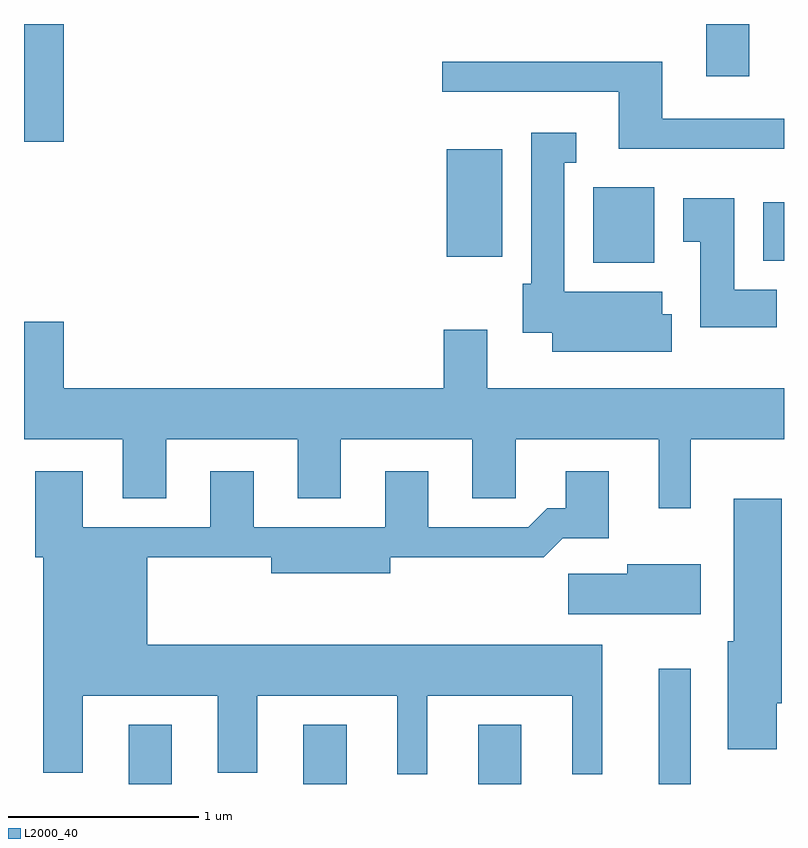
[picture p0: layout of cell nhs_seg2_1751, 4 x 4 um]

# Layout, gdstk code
import gdstk
lib = gdstk.Library(unit=1e-6, precision=1e-09)
def R(c, l, rs):  # rectangles x0, y0, x1, y1
    for r in rs: c.add(gdstk.rectangle(r[:2], r[2:], *l))
def A(c, l, x, y, w, h, nx, ny, dx, dy):  # array of equal rectangles
    R(c, l, [(x+i*dx, y+j*dy, x+i*dx+w, y+j*dy+h) for i in range(nx) for j in range(ny)])
def P(c, l, *ps):  # polygons
    for p in ps: c.add(gdstk.Polygon(p, *l))
L2000_40 = (2000, 40)

nhs_seg2_1751 = lib.new_cell('nhs_seg2_1751')
A(nhs_seg2_1751, L2000_40, 236.161, 1079.802, 0.228, 0.312, 3, 1, 0.92, 0)
R(nhs_seg2_1751, L2000_40, [(238.951,1079.802,239.119,1080.408), (238.606,1082.546,238.929,1082.944), (239.501,1082.556,239.611,1082.864), (237.836,1082.576,238.129,1083.144), (235.611,1083.181,235.819,1083.802), (239.201,1083.526,239.429,1083.802)])
P(nhs_seg2_1751, L2000_40, [(239.611,1083.304),(238.969,1083.304),(238.969,1083.604),(237.813,1083.604),(237.813,1083.446),(238.741,1083.446),(238.741,1083.146),(239.611,1083.146)],
  [(239.019,1082.274),(238.969,1082.274),(238.969,1082.394),(238.454,1082.394),(238.454,1083.071),(238.518,1083.071),(238.518,1083.229),(238.281,1083.229),(238.281,1082.434),(238.236,1082.434),(238.236,1082.176),(238.391,1082.176),(238.391,1082.076),(239.019,1082.076)],
  [(239.574,1082.404),(239.349,1082.404),(239.349,1082.884),(239.081,1082.884),(239.081,1082.656),(239.171,1082.656),(239.171,1082.206),(239.574,1082.206)],
  [(235.819,1082.234),(235.611,1082.234),(235.611,1081.616),(236.131,1081.616),(236.131,1081.306),(236.359,1081.306),(236.359,1081.616),(237.051,1081.616),(237.051,1081.306),(237.279,1081.306),(237.279,1081.616),(237.971,1081.616),(237.971,1081.306),(238.199,1081.306),(238.199,1081.616),(238.951,1081.616),(238.951,1081.253),(239.119,1081.253),(239.119,1081.616),(239.611,1081.616),(239.611,1081.884),(238.049,1081.884),(238.049,1082.194),(237.821,1082.194),(237.821,1081.884),(235.819,1081.884)],
  [(237.734,1080.266),(238.496,1080.266),(238.496,1079.853),(238.654,1079.853),(238.654,1080.534),(236.259,1080.534),(236.259,1080.996),(236.911,1080.996),(236.911,1080.911),(237.539,1080.911),(237.539,1080.996),(238.347,1080.996),(238.447,1081.096),(238.689,1081.096),(238.689,1081.449),(238.461,1081.449),(238.461,1081.254),(238.364,1081.254),(238.264,1081.154),(237.739,1081.154),(237.739,1081.449),(237.511,1081.449),(237.511,1081.154),(236.819,1081.154),(236.819,1081.449),(236.591,1081.449),(236.591,1081.154),(235.919,1081.154),(235.919,1081.449),(235.671,1081.449),(235.671,1080.996),(235.711,1080.996),(235.711,1079.861),(235.919,1079.861),(235.919,1080.266),(236.631,1080.266),(236.631,1079.861),(236.839,1079.861),(236.839,1080.266),(237.576,1080.266),(237.576,1079.853),(237.734,1079.853)],
  [(239.574,1080.226),(239.599,1080.226),(239.599,1081.304),(239.346,1081.304),(239.346,1080.554),(239.316,1080.554),(239.316,1079.986),(239.574,1079.986)],
  [(239.174,1080.959),(238.786,1080.959),(238.786,1080.909),(238.476,1080.909),(238.476,1080.696),(239.174,1080.696)])

lib.write_gds('nhs_seg2_1751.gds')
